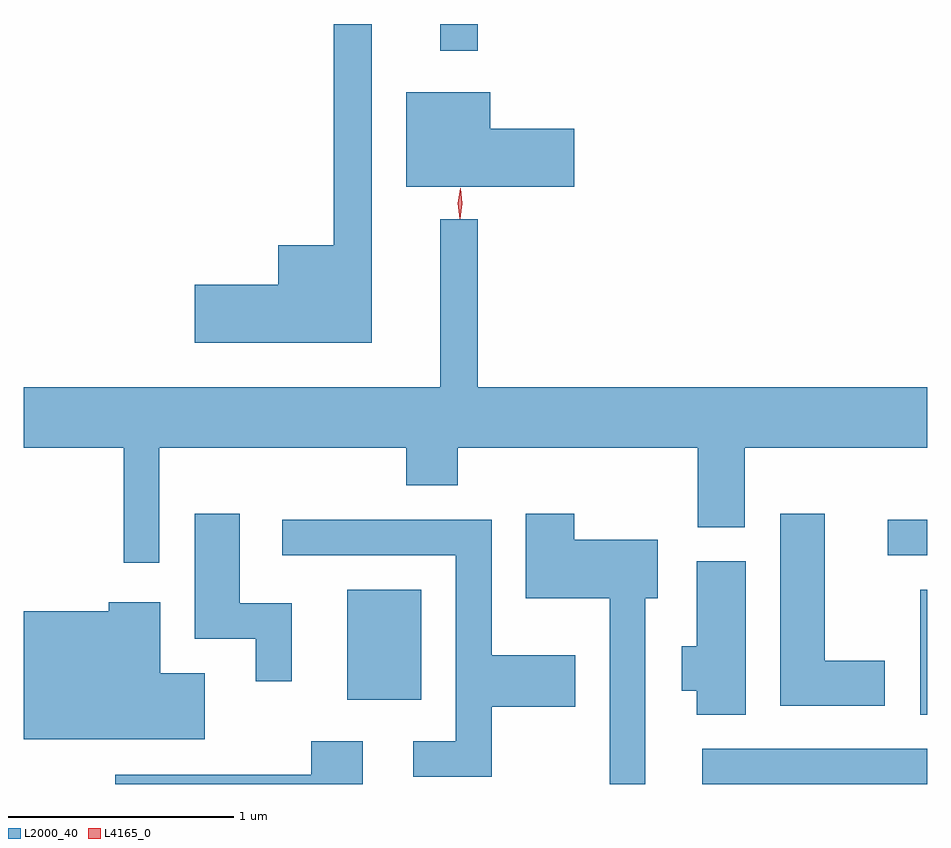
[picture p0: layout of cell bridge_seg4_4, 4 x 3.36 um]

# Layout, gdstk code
import gdstk
lib = gdstk.Library(unit=1e-6, precision=1e-09)
def R(c, l, rs):  # rectangles x0, y0, x1, y1
    for r in rs: c.add(gdstk.rectangle(r[:2], r[2:], *l))
def P(c, l, *ps):  # polygons
    for p in ps: c.add(gdstk.Polygon(p, *l))
L2000_40 = (2000, 40)
L4165_0 = (4165, 0)

bridge_seg4_4 = lib.new_cell('bridge_seg4_4')
R(bridge_seg4_4, L2000_40, [(1171.771,1388.709,1172.768,1388.864), (1172.736,1389.016,1172.768,1389.569), (1170.201,1389.081,1170.529,1389.569), (1172.593,1389.721,1172.768,1389.879), (1170.611,1391.953,1170.779,1392.072)])
P(bridge_seg4_4, L2000_40, [(1170.309,1392.072),(1170.141,1392.072),(1170.141,1391.094),(1169.896,1391.094),(1169.896,1390.919),(1169.526,1390.919),(1169.526,1390.661),(1170.309,1390.661)],
  [(1171.204,1391.609),(1170.834,1391.609),(1170.834,1391.769),(1170.461,1391.769),(1170.461,1391.351),(1171.204,1391.351)],
  [(1170.611,1391.208),(1170.611,1390.464),(1168.768,1390.464),(1168.768,1390.196),(1169.211,1390.196),(1169.211,1389.688),(1169.369,1389.688),(1169.369,1390.196),(1170.461,1390.196),(1170.461,1390.031),(1170.689,1390.031),(1170.689,1390.196),(1171.751,1390.196),(1171.751,1389.846),(1171.959,1389.846),(1171.959,1390.196),(1172.768,1390.196),(1172.768,1390.464),(1170.779,1390.464),(1170.779,1391.208)],
  [(1172.579,1389.254),(1172.314,1389.254),(1172.314,1389.904),(1172.116,1389.904),(1172.116,1389.056),(1172.579,1389.056)],
  [(1169.954,1389.509),(1169.724,1389.509),(1169.724,1389.904),(1169.526,1389.904),(1169.526,1389.351),(1169.796,1389.351),(1169.796,1389.163),(1169.954,1389.163)],
  [(1171.519,1389.531),(1171.574,1389.531),(1171.574,1389.789),(1171.204,1389.789),(1171.204,1389.904),(1170.991,1389.904),(1170.991,1389.531),(1171.361,1389.531),(1171.361,1388.709),(1171.519,1388.709)],
  [(1170.839,1389.051),(1171.209,1389.051),(1171.209,1389.279),(1170.839,1389.279),(1170.839,1389.879),(1169.913,1389.879),(1169.913,1389.721),(1170.681,1389.721),(1170.681,1388.899),(1170.493,1388.899),(1170.493,1388.741),(1170.839,1388.741)],
  [(1171.964,1389.694),(1171.746,1389.694),(1171.746,1389.319),(1171.681,1389.319),(1171.681,1389.121),(1171.746,1389.121),(1171.746,1389.016),(1171.964,1389.016)],
  [(1169.569,1389.199),(1169.374,1389.199),(1169.374,1389.514),(1169.146,1389.514),(1169.146,1389.474),(1168.768,1389.474),(1168.768,1388.906),(1169.569,1388.906)],
  [(1170.269,1388.899),(1170.041,1388.899),(1170.041,1388.749),(1169.173,1388.749),(1169.173,1388.709),(1170.269,1388.709)])
P(bridge_seg4_4, L4165_0, [(1170.699,1391.21),(1170.69,1391.278),(1170.701,1391.346),(1170.701,1391.346),(1170.702,1391.346),(1170.71,1391.278),(1170.7,1391.21),(1170.7,1391.21)],
  [(1170.7,1391.213),(1170.699,1391.214),(1170.691,1391.276),(1170.701,1391.339),(1170.702,1391.34),(1170.702,1391.339),(1170.71,1391.276),(1170.7,1391.214)])

lib.write_gds('bridge_seg4_4.gds')
